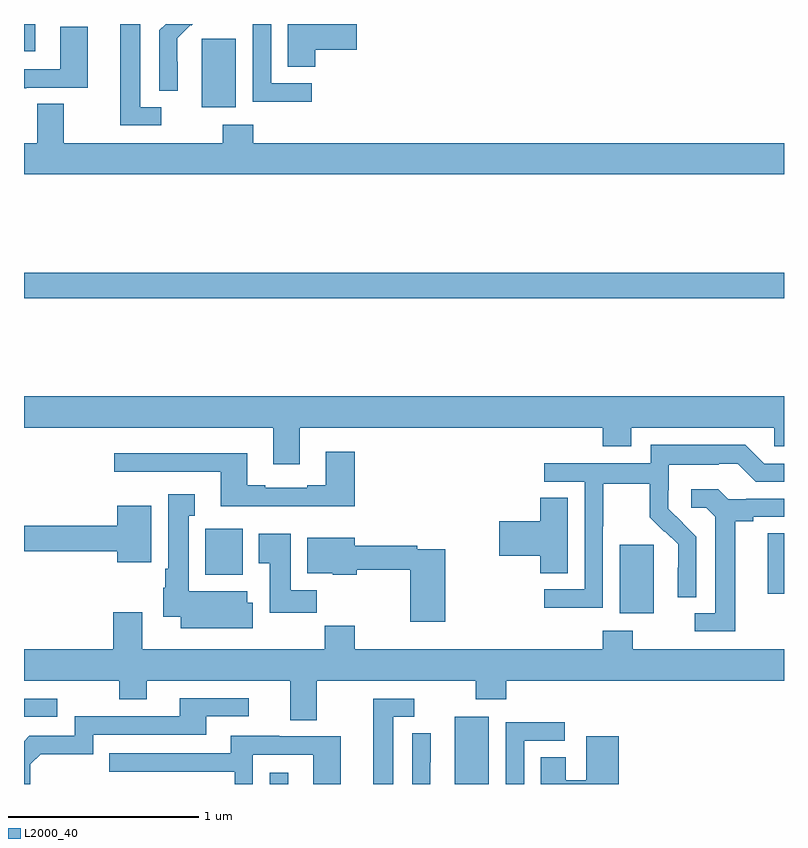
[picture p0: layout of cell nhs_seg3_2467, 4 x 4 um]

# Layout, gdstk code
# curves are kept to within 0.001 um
import gdstk
lib = gdstk.Library(unit=1e-6, precision=1e-09)
def R(c, l, rs):  # rectangles x0, y0, x1, y1
    for r in rs: c.add(gdstk.rectangle(r[:2], r[2:], *l))
def P(c, l, *ps):  # polygons
    for p in ps: c.add(gdstk.Polygon(p, *l))
L2000_40 = (2000, 40)

nhs_seg3_2467 = lib.new_cell('nhs_seg3_2467')
R(nhs_seg3_2467, L2000_40, [(240.294,672.4,240.391,672.46), (241.268,672.4,241.447,672.754), (239,672.753,239.176,672.849), (242.135,673.298,242.314,673.659), (242.915,673.401,243,673.721), (239.954,673.502,240.151,673.744), (239,674.956,243,675.092), (239.936,675.962,240.115,676.323), (239,676.257,239.059,676.4)])
P(nhs_seg3_2467, L2000_40, [(240.514,676.089),(240.3,676.089),(240.3,676.4),(240.204,676.4),(240.204,675.991),(240.514,675.991)],
  [(239.808,676.202),(239.807,676.202),(239.807,676.325),(239.877,676.395),(239.88,676.392),(239.888,676.4),(239.746,676.4),(239.712,676.366),(239.712,676.048),(239.808,676.048)],
  [(240.533,676.265),(240.751,676.265),(240.751,676.4),(240.389,676.4),(240.389,676.174),(240.533,676.174)],
  [(239.722,675.963),(239.611,675.963),(239.611,676.4),(239.507,676.4),(239.507,675.867),(239.722,675.867)],
  [(239.011,676.065),(239.335,676.065),(239.335,676.385),(239.19,676.385),(239.19,676.161),(239,676.161),(239,676.061),(239.011,676.061)],
  [(243,675.772),(240.206,675.772),(240.206,675.871),(240.046,675.871),(240.046,675.772),(239.209,675.772),(239.209,675.98),(239.069,675.98),(239.069,675.772),(239,675.772),(239,675.608),(243,675.608)],
  [(240.451,674.276),(242.045,674.276),(242.045,674.177),(242.197,674.177),(242.197,674.276),(242.949,674.276),(242.949,674.178),(243,674.178),(243,674.44),(239,674.44),(239,674.276),(240.311,674.276),(240.311,674.082),(240.451,674.082)],
  [(242.046,673.756),(242.049,673.756),(242.049,673.98),(242.293,673.98),(242.293,673.805),(242.37,673.728),(242.373,673.731),(242.444,673.661),(242.444,673.538),(242.442,673.538),(242.442,673.384),(242.538,673.384),(242.538,673.702),(242.392,673.85),(242.392,673.947),(242.394,673.947),(242.394,674.081),(242.657,674.081),(242.657,674.085),(242.757,674.085),(242.85,673.992),(243,673.992),(243,674.085),(242.895,674.085),(242.795,674.185),(242.298,674.185),(242.298,674.088),(241.737,674.088),(241.737,673.992),(241.95,673.992),(241.95,673.425),(241.737,673.425),(241.737,673.327),(242.046,673.327)],
  [(240.74,674.149),(240.587,674.149),(240.587,673.972),(240.491,673.972),(240.491,673.959),(240.271,673.959),(240.271,673.972),(240.175,673.972),(240.175,674.14),(239.475,674.14),(239.475,674.043),(240.035,674.043),(240.035,673.862),(240.74,673.862)],
  [(242.743,673.784),(242.839,673.784),(242.839,673.806),(243,673.806),(243,673.902),(242.8,673.902),(242.8,673.899),(242.706,673.899),(242.654,673.951),(242.511,673.951),(242.511,673.854),(242.592,673.854),(242.639,673.807),(242.639,673.299),(242.529,673.299),(242.529,673.203),(242.743,673.203)],
  [(240.205,673.355),(240.175,673.355),(240.175,673.414),(239.866,673.414),(239.866,673.811),(239.899,673.811),(239.899,673.924),(239.759,673.924),(239.759,673.534),(239.744,673.534),(239.744,673.434),(239.732,673.434),(239.732,673.28),(239.825,673.28),(239.825,673.22),(240.205,673.22)],
  [(241.861,673.907),(241.718,673.907),(241.718,673.784),(241.5,673.784),(241.5,673.601),(241.718,673.601),(241.718,673.51),(241.861,673.51)],
  [(239.671,673.864),(239.492,673.864),(239.492,673.76),(239,673.76),(239,673.624),(239.492,673.624),(239.492,673.568),(239.671,673.568)],
  [(240.542,673.42),(240.403,673.42),(240.403,673.717),(240.236,673.717),(240.236,673.561),(240.293,673.561),(240.293,673.302),(240.542,673.302)],
  [(241.217,673.635),(241.07,673.635),(241.07,673.655),(240.742,673.655),(240.742,673.696),(240.491,673.696),(240.491,673.508),(240.624,673.508),(240.624,673.502),(240.75,673.502),(240.75,673.527),(241.034,673.527),(241.034,673.254),(241.217,673.254)],
  [(240.541,672.944),(241.378,672.944),(241.378,672.845),(241.538,672.845),(241.538,672.944),(243,672.944),(243,673.108),(242.205,673.108),(242.205,673.207),(242.045,673.207),(242.045,673.108),(240.74,673.108),(240.74,673.232),(240.583,673.232),(240.583,673.108),(239.623,673.108),(239.623,673.303),(239.471,673.303),(239.471,673.108),(239,673.108),(239,672.944),(239.5,672.944),(239.5,672.845),(239.647,672.845),(239.647,672.944),(240.401,672.944),(240.401,672.736),(240.541,672.736)],
  [(239.034,672.504),(239.087,672.557),(239.364,672.557),(239.364,672.66),(239.959,672.66),(239.959,672.756),(240.184,672.756),(240.184,672.852),(239.819,672.852),(239.819,672.756),(239.268,672.756),(239.268,672.654),(239.028,672.654),(239,672.626),(239,672.4),(239.034,672.4)],
  [(240.943,672.753),(241.054,672.753),(241.054,672.849),(240.839,672.849),(240.839,672.4),(240.943,672.4)],
  [(241.632,672.627),(241.846,672.627),(241.846,672.726),(241.536,672.726),(241.536,672.4),(241.632,672.4)],
  [(241.139,672.514),(241.14,672.514),(241.14,672.668),(241.044,672.668),(241.044,672.4),(241.139,672.4)],
  [(240.204,672.555),(240.522,672.555),(240.522,672.4),(240.667,672.4),(240.667,672.651),(240.343,672.651),(240.343,672.655),(240.089,672.655),(240.089,672.561),(239.449,672.561),(239.449,672.465),(240.108,672.465),(240.108,672.4),(240.204,672.4)],
  [(242.129,672.652),(241.958,672.652),(241.958,672.421),(241.852,672.421),(241.852,672.542),(241.721,672.542),(241.721,672.4),(242.129,672.4)])

lib.write_gds('nhs_seg3_2467.gds')
